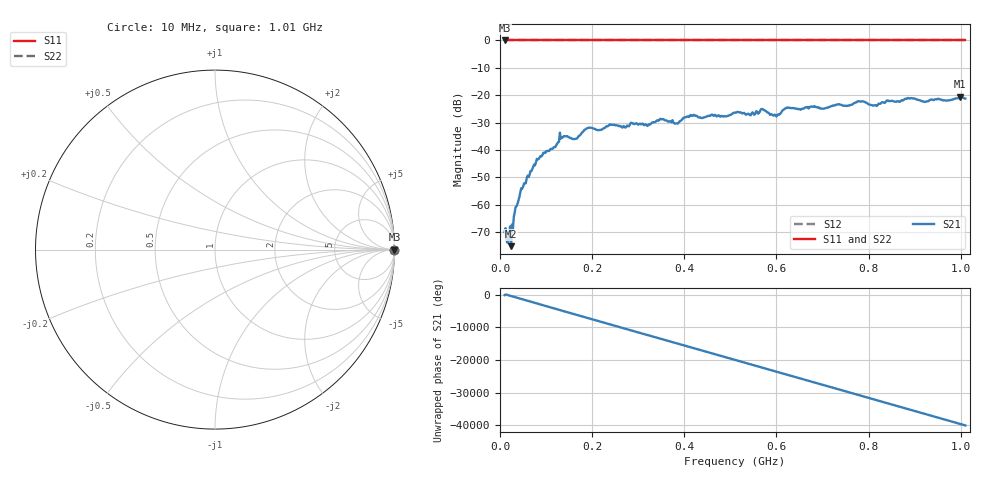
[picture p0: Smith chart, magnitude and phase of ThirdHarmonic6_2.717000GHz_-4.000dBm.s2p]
! 8/17/2025 6:35:57 AM
! C:\ANRITSUVNA\TEMP\TEMP.S2P
! CHANNEL.1
! TR.MEASUREMENT
! RAW.DATA
! RF.CORRECTION.OFF
! AVERAGING.OFF
! IF.BANDWIDTH: 5KHZ
! SWEEPTYPE:  FREQ.SWEEP(Linear)
! Reference Plane Port Info
! PORT:  PORT1  PORT2
! DISTANCE:  0  m  0  m
! TIME:  0  s  0  s
! PHASE.OFFSET:  0  deg.  0  deg.
! LOSS:  0  dB  0  dB
! REF.LOSS:  0  dB  0  dB
! REF.FREQ:  0  Hz  0  Hz
! Power Info
! POWER:  -20  dBm  -20  dBm
! EFF.POWER:  -20  dBm  -20  dBm
! SOURCE.ATTEN:  0  dB  0  dB
! TEST.ATTEN:  0  dB  0  dB
# GHZ S RI R 50.0
! FREQ.GHZ  S11RE  S11IM  S21RE  S21IM  S12RE  S12IM  S22RE  S22IM
!; PortSelection: Port_12
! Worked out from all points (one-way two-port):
!   501 points, 10 MHz to 1.01 GHz, reference 50 ohm
!   highest |S21| = -20.59 dB at 998 MHz (marker M1); lowest = -75.2 dB at 24 MHz (marker M2)
!   lowest |S11| = 0.0 dB at 10 MHz (marker M3)
!   |S11| at or under -10 dB: nowhere
!   |S22| runs from 0.0 to 0.0 dB; largest |S21 - S12| = 1.1
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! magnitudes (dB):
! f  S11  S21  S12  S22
! 10 MHz  0.0  -70.1  0.0  0.0
! 20 MHz  0.0  -70.0  0.0  0.0
! 24 MHz  0.0  -75.2  0.0  0.0
! 34 MHz  0.0  -60.8  0.0  0.0
! 48 MHz  0.0  -54.2  0.0  0.0
! 84 MHz  0.0  -43.3  0.0  0.0
! 134 MHz  0.0  -35.5  0.0  0.0
! 164 MHz  0.0  -35.9  0.0  0.0
! 178 MHz  0.0  -33.6  0.0  0.0
! 194 MHz  0.0  -31.9  0.0  0.0
! 322 MHz  0.0  -30.9  0.0  0.0
! 344 MHz  0.0  -29.3  0.0  0.0
! 382 MHz  0.0  -30.3  0.0  0.0
! 416 MHz  0.0  -27.5  0.0  0.0
! 510 MHz  0.0  -26.4  0.0  0.0
! 570 MHz  0.0  -25.1  0.0  0.0
! 598 MHz  0.0  -27.4  0.0  0.0
! 624 MHz  0.0  -24.5  0.0  0.0
! 678 MHz  0.0  -24.2  0.0  0.0
! 844 MHz  0.0  -22.2  0.0  0.0
! 998 MHz  0.0  -20.6  0.0  0.0
! 1.01 GHz  0.0  -21.2  0.0  0.0
